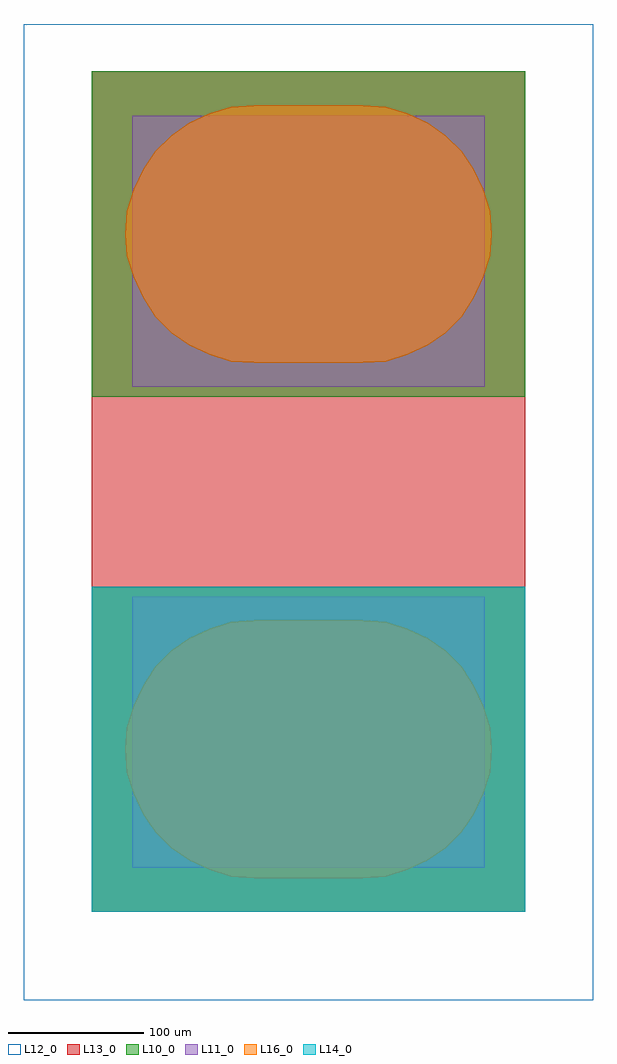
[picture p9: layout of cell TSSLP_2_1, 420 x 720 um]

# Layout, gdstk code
import gdstk
lib = gdstk.Library(unit=1e-6, precision=1e-09)
def R(c, l, rs):  # rectangles x0, y0, x1, y1
    for r in rs: c.add(gdstk.rectangle(r[:2], r[2:], *l))
def P(c, l, *ps):  # polygons
    for p in ps: c.add(gdstk.Polygon(p, *l))
L10_0 = (10, 0)
L11_0 = (11, 0)
L12_0 = (12, 0)
L13_0 = (13, 0)
L14_0 = (14, 0)
L16_0 = (16, 0)

tsslp_2_1 = lib.new_cell('TSSLP_2_1')
R(tsslp_2_1, L10_0, [(-160,-310,160,-70), (-160,70,160,310)])
R(tsslp_2_1, L11_0, [(-130,-277.5,130,-77.5), (-130,77.5,130,277.5)])
R(tsslp_2_1, L12_0, [(-210,-375,210,345)])
R(tsslp_2_1, L13_0, [(-160,-310,160,310)])
R(tsslp_2_1, L14_0, [(-160,-310,160,-70)])
P(tsslp_2_1, L16_0, [(88,-108),(73,-101),(57,-96),(40,-95),(-40,-95),(-57,-96),(-73,-101),(-88,-108),(-101,-117),(-113,-129),(-122,-143),(-129,-158),(-134,-174),(-135,-190),(-134,-207),(-129,-223),(-122,-238),(-113,-251),(-101,-263),(-88,-272),(-73,-279),(-57,-284),(-40,-285),(40,-285),(57,-284),(73,-279),(88,-272),(101,-263),(113,-251),(122,-238),(129,-223),(134,-207),(135,-190),(134,-174),(129,-158),(122,-143),(113,-129),(101,-117)],
  [(88,272),(73,279),(57,284),(40,285),(-40,285),(-57,284),(-73,279),(-88,272),(-101,263),(-113,251),(-122,238),(-129,223),(-134,207),(-135,190),(-134,174),(-129,158),(-122,143),(-113,129),(-101,117),(-88,108),(-73,101),(-57,96),(-40,95),(40,95),(57,96),(73,101),(88,108),(101,117),(113,129),(122,143),(129,158),(134,174),(135,190),(134,207),(129,223),(122,238),(113,251),(101,263)])

lib.write_gds('TSSLP_2_1.gds')
